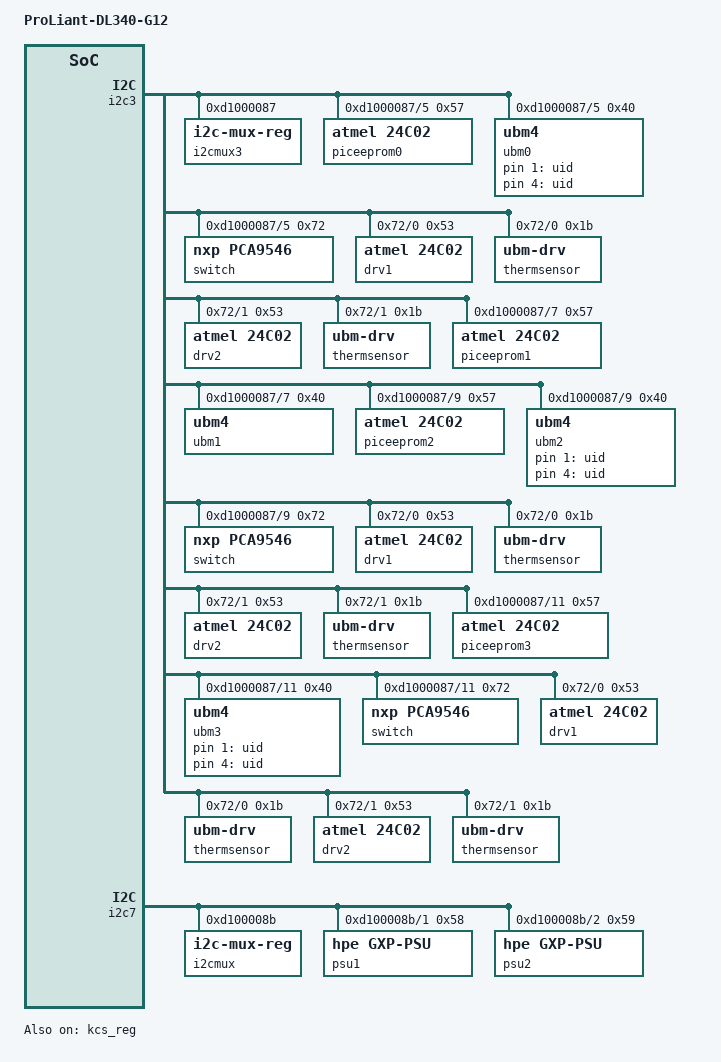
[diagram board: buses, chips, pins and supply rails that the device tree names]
/dts-v1/;
/plugin/;
/ {
    fragment@0 {
        target-path = "/";
        __overlay__ {
            model = "ProLiant-DL340-G12";
        };
    };
    fragment@1 {
    target-path = "/ahb@80000000";
    __overlay__ {
/* i2cmux3: i2cmux@3 {
      compatible = "i2c-mux-reg";
      i2c-parent = <&i2c3>;
      reg = <0xd1000087 1>;
      idle-state = <0x0>;
      #address-cells = <1>;
      #size-cells = <0>;
      i2c3_5: i2c3@5 {
              reg = <5>;
              #address-cells = <1>;
              #size-cells = <0>;
      };
      i2c3_7: i2c3@7 {
              reg = <7>;
              #address-cells = <1>;
              #size-cells = <0>;
      };
      i2c3_9: i2c3@9 {
              reg = <9>;
              #address-cells = <1>;
              #size-cells = <0>;
      };
      i2c3_b: i2c3@b {
              reg = <0xb>;
              #address-cells = <1>;
              #size-cells = <0>;
      };
}; */
   i2cmux3: i2cmux@3 {
      compatible = "i2c-mux-reg";
      i2c-parent = <&i2c3>;
      reg = <0xd1000087 1>;
      idle-state = <0x0>;
      #address-cells = <1>;
      #size-cells = <0>;
      i2c3_5: i2c3@5 {
              reg = <5>;
              #address-cells = <1>;
              #size-cells = <0>;
              piceeprom0: piceeprom0 {
                compatible = "atmel,24c02";
                label = "piceeprom0";
                reg = <0x57>;
              };
	      ubm0: ubm@40 {
                      compatible = "ubm4";
                      eeprom_phandle = <&piceeprom0>;
                      reg = <0x40>;
                      #gpio-cells = <2>;
                      gpio-line-names = "0_DRV1_PRESENCE", "0_DRV1_UUID", "0_DRV1_ACT",
                                        "0_DRV2_PRESENCE", "0_DRV2_UUID", "0_DRV2_ACT";
              };
	      switch@72 {
                     compatible = "nxp,pca9546";
                     #address-cells = <1>;
                     #size-cells = <0>;
                     reg = <0x72>;
                     i2c@0 {
                        #address-cells = <1>;
                        #size-cells = <0>;
                        reg = <0>;
                        drveeprom3@53 {
                                compatible = "atmel,24c02";
                                label = "drv1";
                                reg = <0x53>;
                        };
                        thermsensor@1b {
                                compatible = "ubm-drv";
                                uid-led = <&leddrv5>;
                                reg = < 0x1b>;
                        };
                     };
                     i2c@1 {
                        #address-cells = <1>;
                        #size-cells = <0>;
                        reg = <1>;
                        drveeprom@53 {
                                compatible = "atmel,24c02";
                                label = "drv2";
                                reg = <0x53>;
                        };
                        thermsensor@1b {
                                compatible = "ubm-drv";
                                uid-led = <&leddrv6>;
                                reg = < 0x1b>;
                        };
                     };
              };
        };
      i2c3_7: i2c3@7 {
              reg = <7>;
              #address-cells = <1>;
              #size-cells = <0>;
              piceeprom1: piceeprom1 {
                compatible = "atmel,24c02";
                label = "piceeprom1";
                reg = <0x57>;
              };
              ubm1: ubm@40 {
                      compatible = "ubm4";
                      eeprom_phandle = <&piceeprom1>;
                      reg = <0x40>;
                      #gpio-cells = <2>;
                      gpio-line-names = "1_DRV1_PRESENCE", "1_DRV1_UUID", "1_DRV1_ACT",
                                        "1_DRV2_PRESENCE", "1_DRV2_UUID", "1_DRV2_ACT";
              };
        };
      i2c3_9: i2c3@9 {
              reg = <9>;
              #address-cells = <1>;
              #size-cells = <0>;
             piceeprom2: piceeprom2 {
                compatible = "atmel,24c02";
                label = "piceeprom2";
                reg = <0x57>;
              };
	      ubm2: ubm@40 {
                      compatible = "ubm4";
                 //     eeprom_phandle = <&piceeprom2>;
                      reg = <0x40>;
                      #gpio-cells = <2>;
                      gpio-line-names = "2_DRV1_PRESENCE", "2_DRV1_UUID", "2_DRV1_ACT",
                                        "2_DRV2_PRESENCE", "2_DRV2_UUID", "2_DRV2_ACT";
              };
	      switch@72 {
                     compatible = "nxp,pca9546";
                     #address-cells = <1>;
                     #size-cells = <0>;
                     reg = <0x72>;
                     i2c@0 {
                        #address-cells = <1>;
                        #size-cells = <0>;
                        reg = <0>;
                        drveeprom3@53 {
                                compatible = "atmel,24c02";
                                label = "drv1";
                                reg = <0x53>;
                        };
                        thermsensor@1b {
                                compatible = "ubm-drv";
                                uid-led = <&leddrv1>;
                                reg = < 0x1b>;
                        };
                     };
                     i2c@1 {
                        #address-cells = <1>;
                        #size-cells = <0>;
                        reg = <1>;
                        drveeprom@53 {
                                compatible = "atmel,24c02";
                                label = "drv2";
                                reg = <0x53>;
                        };
                        thermsensor@1b {
                                compatible = "ubm-drv";
                                uid-led = <&leddrv2>;
                                reg = < 0x1b>;
                        };
                     };
              };
        };
      i2c3_b: i2c3@b {
              reg = <0xb>;
              #address-cells = <1>;
              #size-cells = <0>;
              piceeprom3: piceeprom3 {
                compatible = "atmel,24c02";
                label = "piceeprom3";
                reg = <0x57>;
              };
              ubm3: ubm@40 {
                      compatible = "ubm4";
                      eeprom_phandle = <&piceeprom3>;
                      reg = <0x40>;
                      #gpio-cells = <2>;
                      gpio-line-names = "3_DRV1_PRESENCE", "3_DRV1_UUID", "3_DRV1_ACT",
                                        "3_DRV2_PRESENCE", "3_DRV2_UUID", "3_DRV2_ACT";
              };
	      switch@72 {
                     compatible = "nxp,pca9546";
                     #address-cells = <1>;
                     #size-cells = <0>;
                     reg = <0x72>;
                     i2c@0 {
                        #address-cells = <1>;
                        #size-cells = <0>;
                        reg = <0>;
                        drveeprom3@53 {
                                compatible = "atmel,24c02";
                                label = "drv1";
                                reg = <0x53>;
                        };
                        thermsensor@1b {
                                compatible = "ubm-drv";
                                uid-led = <&leddrv3>;
                                reg = < 0x1b>;
                        };
                     };
                     i2c@1 {
                        #address-cells = <1>;
                        #size-cells = <0>;
                        reg = <1>;
                        drveeprom@53 {
                                compatible = "atmel,24c02";
                                label = "drv2";
                                reg = <0x53>;
                        };
                        thermsensor@1b {
                                compatible = "ubm-drv";
                                uid-led = <&leddrv4>;
                                reg = < 0x1b>;
                        };
                     };
              };
        };
    };
    /* add PSU mux */
    i2cmux@7 {
      compatible = "i2c-mux-reg";
      i2c-parent = <&i2c7>;
      reg = <0xd100008b 1>;
      #address-cells = <1>;
      #size-cells = <0>;
      i2c7@1 {
        reg = <1>;
        #address-cells = <1>;
        #size-cells = <0>;
        psu1: psu@58 {
                compatible = "hpe,gxp-psu";
                reg = <0x58>;
        };
      };
      i2c7@2 {
        reg = <2>;
        #address-cells = <1>;
        #size-cells = <0>;
        psu2: psu@59 {
                compatible = "hpe,gxp-psu";
                reg = <0x59>;
        };
      };
    };

    kcs_conf: kcs_conf@80fc0430 {
      compatible = "hpe,gxp-kcs-bmc-cfg", "simple-mfd", "syscon";
      reg = <0x80fc0430 0x100>;
    };

    kcs_reg: kcs_reg@080fd0400 {
      compatible = "hpe,gxp-kcs-bmc";
      reg = <0x80fd0400 0x8>;
      interrupts = <6>;
      interrupt-parent = <&vic1>;
      kcs_chan = <1>;
      status = "okay";
      kcs-bmc-cfg = <&kcs_conf>;
    };

    syspower: syspower {
      compatible = "hpe,gxp-power";
      psu_phandle = <&psu1>, <&psu2>;
    };
    leddrv1: leddrv1 {
      compatible = "gpio-leds";
      uid {
          gpios = <&ubm2 1 0>;
          default-state = "off";
      };
    };
    leddrv2: leddrv2 {
      compatible = "gpio-leds";
      uid {
          gpios = <&ubm2 4 0>;
          default-state = "off";
      };
    };
    leddrv3: leddrv3 {
      compatible = "gpio-leds";
      uid {
          gpios = <&ubm3 1 0>;
          default-state = "off";
      };
    };
    leddrv4: leddrv4 {
      compatible = "gpio-leds";
      uid {
          gpios = <&ubm3 4 0>;
          default-state = "off";
      };
    };

    leddrv5: leddrv5 {
      compatible = "gpio-leds";
      uid {
          gpios = <&ubm0 1 0>;
          default-state = "off";
      };
    };
    leddrv6: leddrv6 {
      compatible = "gpio-leds";
      uid {
          gpios = <&ubm0 4 0>;
          default-state = "off";
      };
    };
  };
 };
};
